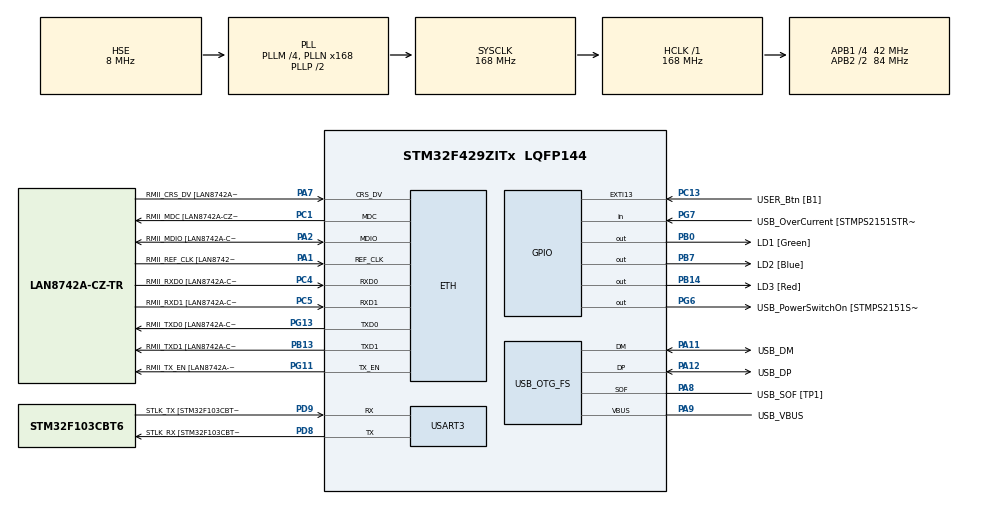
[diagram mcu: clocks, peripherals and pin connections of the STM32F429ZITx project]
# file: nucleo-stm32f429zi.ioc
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ETH.MediaInterface=ETH_MEDIA_INTERFACE_RMII
ETH.PHY_Name=LAN8742A_PHY_ADDRESS
ETH.PHY_Value=0
ETH.PhyAddress=0
Mcu.Family=STM32F4
Mcu.Name=STM32F429ZITx
Mcu.Package=LQFP144
NVIC.PriorityGroup=NVIC_PRIORITYGROUP_4
NVIC.USART3_IRQn=true\:0\:0\:false\:false\:true\:true\:true
PA1.GPIO_Label=RMII_REF_CLK [LAN8742A-CZ-TR_REFCLK0]
PA1.Mode=RMII
PA1.Signal=ETH_REF_CLK
PA10.GPIO_Label=USB_ID
PA10.Signal=USB_OTG_FS_ID
PA11.GPIO_Label=USB_DM
PA11.Mode=Device_Only
PA11.Signal=USB_OTG_FS_DM
PA12.GPIO_Label=USB_DP
PA12.Mode=Device_Only
PA12.Signal=USB_OTG_FS_DP
PA13.GPIO_Label=TMS
PA13.Mode=Serial_Wire
PA13.Signal=SYS_JTMS-SWDIO
PA14.GPIO_Label=TCK
PA14.Mode=Serial_Wire
PA14.Signal=SYS_JTCK-SWCLK
PA2.GPIO_Label=RMII_MDIO [LAN8742A-CZ-TR_MDIO]
PA2.Mode=RMII
PA2.Signal=ETH_MDIO
PA7.GPIO_Label=RMII_CRS_DV [LAN8742A-CZ-TR_CRS_DV]
PA7.Mode=RMII
PA7.Signal=ETH_CRS_DV
PA8.GPIO_Label=USB_SOF [TP1]
PA8.Mode=Activate_SOF_FS
PA8.Signal=USB_OTG_FS_SOF
PA9.GPIO_Label=USB_VBUS
PA9.Mode=Activate_VBUS
PA9.Signal=USB_OTG_FS_VBUS
PB0.GPIO_Label=LD1 [Green]
PB0.Signal=GPIO_Output
PB13.GPIO_Label=RMII_TXD1 [LAN8742A-CZ-TR_TXD1]
PB13.Mode=RMII
PB13.Signal=ETH_TXD1
PB14.GPIO_Label=LD3 [Red]
PB14.Signal=GPIO_Output
PB7.GPIO_Label=LD2 [Blue]
PB7.Signal=GPIO_Output
PC1.GPIO_Label=RMII_MDC [LAN8742A-CZ-TR_MDC]
PC1.Mode=RMII
PC1.Signal=ETH_MDC
PC13.GPIO_Label=USER_Btn [B1]
PC13.Signal=GPXTI13
PC14/OSC32_IN.Mode=LSE-External-Oscillator
PC14/OSC32_IN.Signal=RCC_OSC32_IN
PC15/OSC32_OUT.Mode=LSE-External-Oscillator
PC15/OSC32_OUT.Signal=RCC_OSC32_OUT
PC4.GPIO_Label=RMII_RXD0 [LAN8742A-CZ-TR_RXD0]
PC4.Mode=RMII
PC4.Signal=ETH_RXD0
PC5.GPIO_Label=RMII_RXD1 [LAN8742A-CZ-TR_RXD1]
PC5.Mode=RMII
PC5.Signal=ETH_RXD1
PD8.GPIO_Label=STLK_RX [STM32F103CBT6_PA3]
PD8.Mode=Asynchronous
PD8.Signal=USART3_TX
PD9.GPIO_Label=STLK_TX [STM32F103CBT6_PA2]
PD9.Mode=Asynchronous
PD9.Signal=USART3_RX
PG11.GPIO_Label=RMII_TX_EN [LAN8742A-CZ-TR_TXEN]
PG11.Mode=RMII
PG11.Signal=ETH_TX_EN
PG13.GPIO_Label=RMII_TXD0 [LAN8742A-CZ-TR_TXD0]
PG13.Mode=RMII
PG13.Signal=ETH_TXD0
PG6.GPIO_Label=USB_PowerSwitchOn [STMPS2151STR_EN]
PG6.Signal=GPIO_Output
PG7.GPIO_Label=USB_OverCurrent [STMPS2151STR_FAULT]
PG7.Signal=GPIO_Input
PH0/OSC_IN.GPIO_Label=MCO [STM32F103CBT6_PA8]
PH0/OSC_IN.Mode=HSE-External-Clock-Source
PH0/OSC_IN.Signal=RCC_OSC_IN
PH1/OSC_OUT.Mode=HSE-External-Clock-Source
PH1/OSC_OUT.Signal=RCC_OSC_OUT
ProjectManager.HeapSize=0x200
ProjectManager.StackSize=0x400
ProjectManager.TargetToolchain=STM32CubeIDE
RCC.48MHZClocksFreq_Value=48000000
RCC.AHBFreq_Value=168000000
RCC.APB1CLKDivider=RCC_HCLK_DIV4
RCC.APB1Freq_Value=42000000
RCC.APB1TimFreq_Value=84000000
RCC.APB2CLKDivider=RCC_HCLK_DIV2
RCC.APB2Freq_Value=84000000
RCC.APB2TimCLKDivider=2
RCC.APB2TimFreq_Value=168000000
RCC.CortexFreq_Value=168000000
RCC.HCLKFreq_Value=168000000
RCC.HSE_VALUE=8000000
RCC.HSI_VALUE=16000000
RCC.PLLM=4
RCC.PLLMUL=RCC_PLL_MUL9
RCC.PLLN=168
RCC.PLLQ=7
RCC.PRESCALERUSB=RCC_USBCLKSOURCE_PLL_DIV1_5
RCC.SYSCLKFreq_VALUE=168000000
RCC.SYSCLKSource=RCC_SYSCLKSOURCE_PLLCLK
RCC.SYSCLKSourceVirtual=RCC_SYSCLKSOURCE_PLLCLK
RCC.USBFreq_Value=48000000
RCC.VCOOutputFreq_Value=336000000
USART3.VirtualMode=VM_ASYNC
USB_OTG_FS.VirtualMode=Device_Only
board=NUCLEO-F429ZI

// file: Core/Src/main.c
/* USER CODE BEGIN Header */
/**
  ******************************************************************************
  * @file           : main.c
  * @brief          : Main program body
  ******************************************************************************
  * @attention
  *
  * <h2><center>&copy; Copyright (c) 2020 STMicroelectronics.
  * All rights reserved.</center></h2>
  *
  * This software component is licensed by ST under BSD 3-Clause license,
  * the "License"; You may not use this file except in compliance with the
  * License. You may obtain a copy of the License at:
  *                        opensource.org/licenses/BSD-3-Clause
  *
  ******************************************************************************
  */
/* USER CODE END Header */
#include "main.h"

/* USER CODE BEGIN Includes */
#include <stdio.h>
/* USER CODE END Includes */

/* USER CODE BEGIN PTD */
#if 0
#ifdef __GNUC__
/* With GCC, small printf (option LD Linker->Libraries->Small printf
   set to 'Yes') calls __io_putchar() */
#define PUTCHAR_PROTOTYPE int __io_putchar(int ch)
#else
#define PUTCHAR_PROTOTYPE int fputc(int ch, FILE *f)
#endif /* __GNUC__ */

#ifdef __GNUC__
/* With GCC, small printf (option LD Linker->Libraries->Small printf
   set to 'Yes') calls __io_putchar() */
#define GETCHAR_PROTOTYPE int __io_getchar(int ch)
#else
#define GETCHAR_PROTOTYPE int fgetc(int ch, FILE *f)
#endif /* __GNUC__ */
#endif

/* USER CODE END PTD */

ETH_HandleTypeDef heth;

UART_HandleTypeDef huart3;

PCD_HandleTypeDef hpcd_USB_OTG_FS;

void SystemClock_Config(void);
static void MX_GPIO_Init(void);
static void MX_ETH_Init(void);
static void MX_USART3_UART_Init(void);
static void MX_USB_OTG_FS_PCD_Init(void);

/* USER CODE BEGIN 0 */
char rx3_data;

/* USER CODE END 0 */

int main(void)
{

  /* MCU Configuration--------------------------------------------------------*/

  /* Reset of all peripherals, Initializes the Flash interface and the Systick. */
  HAL_Init();

  /* Configure the system clock */
  SystemClock_Config();

  /* Initialize all configured peripherals */
  MX_GPIO_Init();
  MX_ETH_Init();
  MX_USART3_UART_Init();
  MX_USB_OTG_FS_PCD_Init();

  /* Infinite loop */
  /* USER CODE BEGIN WHILE */

  HAL_UART_Receive_IT(&huart3, (uint8_t *)&rx3_data, 1);

  /* Output a message on Hyperterminal using printf function */
  printf("\n\r UART Printf Example: retarget the C library printf function to the UART\n\r");
  printf("\n\r ** Test finished successfully. ** \n\r");

  int i = 0;

  while (1)
  {
    /* USER CODE END WHILE */

    /* USER CODE BEGIN 3 */
#if 0
	if (rx3_data)
		printf("%d, Received char data, %c", i++, rx3_data);
#endif

  }
  /* USER CODE END 3 */
}

void SystemClock_Config(void)
{
  RCC_OscInitTypeDef RCC_OscInitStruct = {0};
  RCC_ClkInitTypeDef RCC_ClkInitStruct = {0};

  /** Configure the main internal regulator output voltage
  */
  __HAL_RCC_PWR_CLK_ENABLE();
  __HAL_PWR_VOLTAGESCALING_CONFIG(PWR_REGULATOR_VOLTAGE_SCALE1);
  /** Initializes the RCC Oscillators according to the specified parameters
  * in the RCC_OscInitTypeDef structure.
  */
  RCC_OscInitStruct.OscillatorType = RCC_OSCILLATORTYPE_HSE;
  RCC_OscInitStruct.HSEState = RCC_HSE_BYPASS;
  RCC_OscInitStruct.PLL.PLLState = RCC_PLL_ON;
  RCC_OscInitStruct.PLL.PLLSource = RCC_PLLSOURCE_HSE;
  RCC_OscInitStruct.PLL.PLLM = 4;
  RCC_OscInitStruct.PLL.PLLN = 168;
  RCC_OscInitStruct.PLL.PLLP = RCC_PLLP_DIV2;
  RCC_OscInitStruct.PLL.PLLQ = 7;
  if (HAL_RCC_OscConfig(&RCC_OscInitStruct) != HAL_OK)
  {
    Error_Handler();
  }
  /** Initializes the CPU, AHB and APB buses clocks
  */
  RCC_ClkInitStruct.ClockType = RCC_CLOCKTYPE_HCLK|RCC_CLOCKTYPE_SYSCLK
                              |RCC_CLOCKTYPE_PCLK1|RCC_CLOCKTYPE_PCLK2;
  RCC_ClkInitStruct.SYSCLKSource = RCC_SYSCLKSOURCE_PLLCLK;
  RCC_ClkInitStruct.AHBCLKDivider = RCC_SYSCLK_DIV1;
  RCC_ClkInitStruct.APB1CLKDivider = RCC_HCLK_DIV4;
  RCC_ClkInitStruct.APB2CLKDivider = RCC_HCLK_DIV2;

  if (HAL_RCC_ClockConfig(&RCC_ClkInitStruct, FLASH_LATENCY_5) != HAL_OK)
  {
    Error_Handler();
  }
}

static void MX_ETH_Init(void)
{

  heth.Instance = ETH;
  heth.Init.AutoNegotiation = ETH_AUTONEGOTIATION_ENABLE;
  heth.Init.PhyAddress = LAN8742A_PHY_ADDRESS;
  heth.Init.MACAddr[0] =   0x00;
  heth.Init.MACAddr[1] =   0x80;
  heth.Init.MACAddr[2] =   0xE1;
  heth.Init.MACAddr[3] =   0x00;
  heth.Init.MACAddr[4] =   0x00;
  heth.Init.MACAddr[5] =   0x00;
  heth.Init.RxMode = ETH_RXPOLLING_MODE;
  heth.Init.ChecksumMode = ETH_CHECKSUM_BY_HARDWARE;
  heth.Init.MediaInterface = ETH_MEDIA_INTERFACE_RMII;

  if (HAL_ETH_Init(&heth) != HAL_OK)
  {
    Error_Handler();
  }

}

static void MX_USART3_UART_Init(void)
{

  huart3.Instance = USART3;
  huart3.Init.BaudRate = 115200;
  huart3.Init.WordLength = UART_WORDLENGTH_8B;
  huart3.Init.StopBits = UART_STOPBITS_1;
  huart3.Init.Parity = UART_PARITY_NONE;
  huart3.Init.Mode = UART_MODE_TX_RX;
  huart3.Init.HwFlowCtl = UART_HWCONTROL_NONE;
  huart3.Init.OverSampling = UART_OVERSAMPLING_16;
  if (HAL_UART_Init(&huart3) != HAL_OK)
  {
    Error_Handler();
  }

}

static void MX_USB_OTG_FS_PCD_Init(void)
{

  hpcd_USB_OTG_FS.Instance = USB_OTG_FS;
  hpcd_USB_OTG_FS.Init.dev_endpoints = 4;
  hpcd_USB_OTG_FS.Init.speed = PCD_SPEED_FULL;
  hpcd_USB_OTG_FS.Init.dma_enable = DISABLE;
  hpcd_USB_OTG_FS.Init.phy_itface = PCD_PHY_EMBEDDED;
  hpcd_USB_OTG_FS.Init.Sof_enable = ENABLE;
  hpcd_USB_OTG_FS.Init.low_power_enable = DISABLE;
  hpcd_USB_OTG_FS.Init.lpm_enable = DISABLE;
  hpcd_USB_OTG_FS.Init.vbus_sensing_enable = ENABLE;
  hpcd_USB_OTG_FS.Init.use_dedicated_ep1 = DISABLE;
  if (HAL_PCD_Init(&hpcd_USB_OTG_FS) != HAL_OK)
  {
    Error_Handler();
  }

}

static void MX_GPIO_Init(void)
{
  GPIO_InitTypeDef GPIO_InitStruct = {0};

  /* GPIO Ports Clock Enable */
  __HAL_RCC_GPIOC_CLK_ENABLE();
  __HAL_RCC_GPIOH_CLK_ENABLE();
  __HAL_RCC_GPIOA_CLK_ENABLE();
  __HAL_RCC_GPIOB_CLK_ENABLE();
  __HAL_RCC_GPIOD_CLK_ENABLE();
  __HAL_RCC_GPIOG_CLK_ENABLE();

  /*Configure GPIO pin Output Level */
  HAL_GPIO_WritePin(GPIOB, LD1_Pin|LD3_Pin|LD2_Pin, GPIO_PIN_RESET);

  /*Configure GPIO pin Output Level */
  HAL_GPIO_WritePin(USB_PowerSwitchOn_GPIO_Port, USB_PowerSwitchOn_Pin, GPIO_PIN_RESET);

  /*Configure GPIO pin : USER_Btn_Pin */
  GPIO_InitStruct.Pin = USER_Btn_Pin;
  GPIO_InitStruct.Mode = GPIO_MODE_IT_RISING;
  GPIO_InitStruct.Pull = GPIO_NOPULL;
  HAL_GPIO_Init(USER_Btn_GPIO_Port, &GPIO_InitStruct);

  /*Configure GPIO pins : LD1_Pin LD3_Pin LD2_Pin */
  GPIO_InitStruct.Pin = LD1_Pin|LD3_Pin|LD2_Pin;
  GPIO_InitStruct.Mode = GPIO_MODE_OUTPUT_PP;
  GPIO_InitStruct.Pull = GPIO_NOPULL;
  GPIO_InitStruct.Speed = GPIO_SPEED_FREQ_LOW;
  HAL_GPIO_Init(GPIOB, &GPIO_InitStruct);

  /*Configure GPIO pin : USB_PowerSwitchOn_Pin */
  GPIO_InitStruct.Pin = USB_PowerSwitchOn_Pin;
  GPIO_InitStruct.Mode = GPIO_MODE_OUTPUT_PP;
  GPIO_InitStruct.Pull = GPIO_NOPULL;
  GPIO_InitStruct.Speed = GPIO_SPEED_FREQ_LOW;
  HAL_GPIO_Init(USB_PowerSwitchOn_GPIO_Port, &GPIO_InitStruct);

  /*Configure GPIO pin : USB_OverCurrent_Pin */
  GPIO_InitStruct.Pin = USB_OverCurrent_Pin;
  GPIO_InitStruct.Mode = GPIO_MODE_INPUT;
  GPIO_InitStruct.Pull = GPIO_NOPULL;
  HAL_GPIO_Init(USB_OverCurrent_GPIO_Port, &GPIO_InitStruct);

}

/* USER CODE BEGIN 4 */

#if 0
/**
  * @brief  Retargets the C library printf function to the USART.
  * @param  None
  * @retval None
  */
PUTCHAR_PROTOTYPE//write()
{
  /* Place your implementation of fputc here */
  /* e.g. write a character to the USART3 and Loop until the end of transmission */
	HAL_UART_Transmit(&huart3, (uint8_t *)&ch, 1, 0xFFFF);

  return ch;
}

/**
  * @brief  Retargets the C library printf function to the USART.
  * @param  None
  * @retval None
  */
GETCHAR_PROTOTYPE//read()
{
	uint8_t ch;
	HAL_UART_Receive_IT(&huart3, (uint8_t *)&ch, 1);

  return ch;
}
#endif

int _write(int file, char *ptr, int len)
{
	int DataIdx;

	//for (DataIdx = 0; DataIdx < len; DataIdx++)
	{
		HAL_UART_Transmit(&huart3, (uint8_t *)ptr, len, 0xFFFF);
	}
	return len;
}

void HAL_UART_RxCpltCallback(UART_HandleTypeDef *huart)
{
	if(huart->Instance == USART3)
	{
		HAL_UART_Receive_IT(&huart3, (uint8_t *)&rx3_data, 1);
		HAL_UART_Transmit(&huart3, (uint8_t *)&rx3_data, 1, 0xFFFF);
	}

#if 0
	if (rx3_data)
			printf("%d, Received char data, %c", i++, rx3_data);
#endif
}

/* USER CODE END 4 */

void Error_Handler(void)
{
}

/************************ (C) COPYRIGHT STMicroelectronics *****END OF FILE****/
